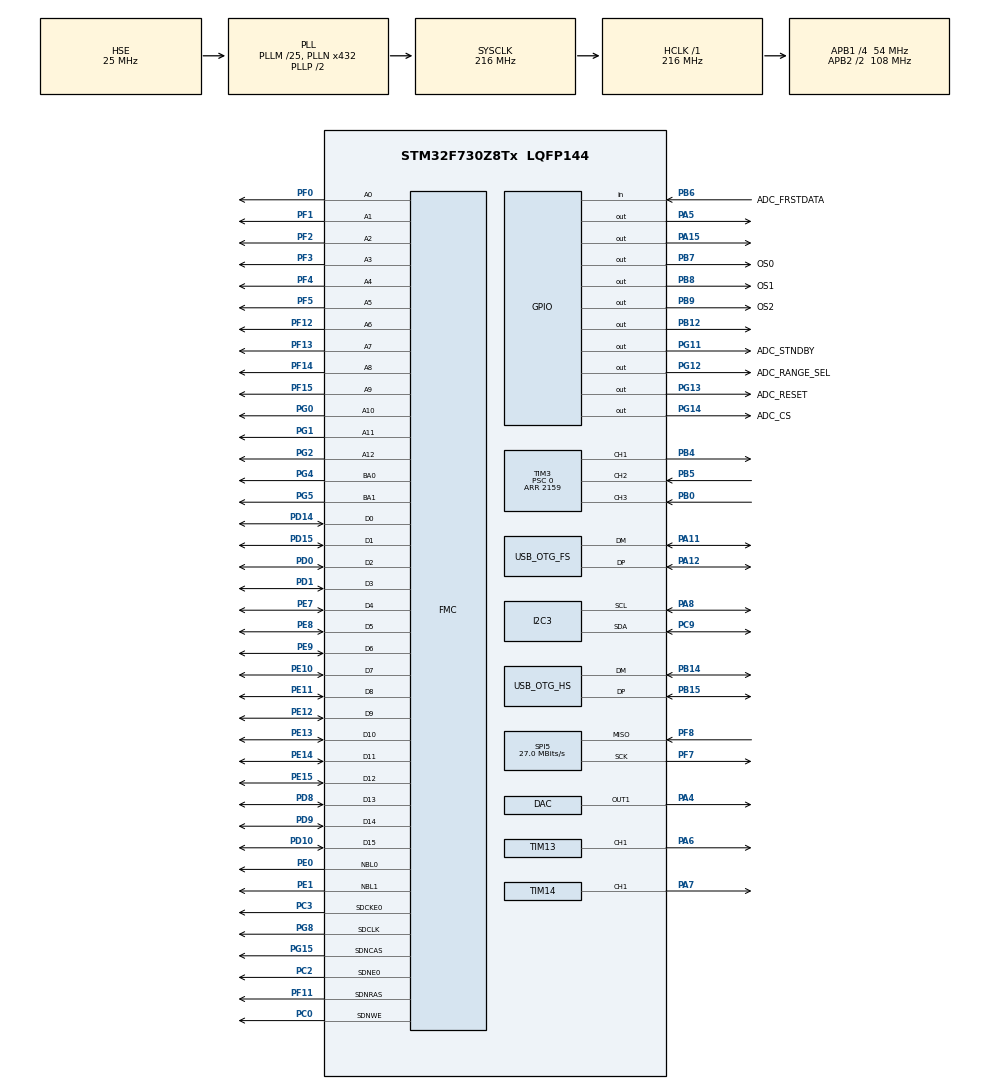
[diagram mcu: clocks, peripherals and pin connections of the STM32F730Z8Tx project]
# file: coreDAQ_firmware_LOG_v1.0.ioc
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ADC1.Channel-0\#ChannelRegularConversion=ADC_CHANNEL_TEMPSENSOR
ADC1.NbrOfConversionFlag=1
ADC1.Rank-0\#ChannelRegularConversion=1
ADC1.SamplingTime-0\#ChannelRegularConversion=ADC_SAMPLETIME_3CYCLES
ADC1.master=1
CORTEX_M7.default_mode_Activation=1
FMC.CASLatency1=FMC_SDRAM_CAS_LATENCY_2
FMC.ColumnBitsNumber1=FMC_SDRAM_COLUMN_BITS_NUM_9
FMC.ExitSelfRefreshDelay1=7
FMC.LoadToActiveDelay1=2
FMC.RCDDelay1=2
FMC.RPDelay1=2
FMC.ReadBurst1=FMC_SDRAM_RBURST_DISABLE
FMC.ReadPipeDelay1=FMC_SDRAM_RPIPE_DELAY_1
FMC.ReadPipeDelay2=FMC_SDRAM_RPIPE_DELAY_1
FMC.RowCycleDelay1=6
FMC.RowCycleDelay2=6
FMC.SDClockPeriod1=FMC_SDRAM_CLOCK_PERIOD_2
FMC.SDClockPeriod2=FMC_SDRAM_CLOCK_PERIOD_2
FMC.SelfRefreshTime1=4
FMC.WriteRecoveryTime1=6
I2C3.Timing=0x20404768
Mcu.Family=STM32F7
Mcu.Name=STM32F730Z8Tx
Mcu.Package=LQFP144
NVIC.OTG_HS_IRQn=true\:0\:0\:false\:false\:true\:true\:true\:true
NVIC.PriorityGroup=NVIC_PRIORITYGROUP_4
NVIC.SPI5_IRQn=true\:0\:0\:false\:false\:true\:true\:true\:true
NVIC.TIM3_IRQn=true\:0\:0\:false\:false\:true\:true\:true\:true
PA11.Mode=Device_Only
PA11.Signal=USB_OTG_FS_DM
PA12.Mode=Device_Only
PA12.Signal=USB_OTG_FS_DP
PA13.Mode=Trace_Asynchronous_SW
PA13.Signal=SYS_JTMS-SWDIO
PA14.Mode=Trace_Asynchronous_SW
PA14.Signal=SYS_JTCK-SWCLK
PA15.PinState=GPIO_PIN_SET
PA15.Signal=GPIO_Output
PA3.Signal=ADCx_IN3
PA4.Signal=COMP_DAC1_group
PA5.Signal=GPIO_Output
PA6.Signal=S_TIM13_CH1
PA7.Signal=S_TIM14_CH1
PA8.Mode=I2C
PA8.Signal=I2C3_SCL
PB0.Signal=S_TIM3_CH3
PB12.PinState=GPIO_PIN_RESET
PB12.Signal=GPIO_Output
PB14.Mode=Internal_Phy_Device
PB14.Signal=USB_OTG_HS_DM
PB15.Mode=Internal_Phy_Device
PB15.Signal=USB_OTG_HS_DP
PB3.Mode=Trace_Asynchronous_SW
PB3.Signal=SYS_JTDO-SWO
PB4.Signal=S_TIM3_CH1
PB5.Signal=S_TIM3_CH2
PB6.GPIO_Label=ADC_FRSTDATA
PB6.Signal=GPIO_Input
PB7.GPIO_Label=OS0
PB7.Signal=GPIO_Output
PB8.GPIO_Label=OS1
PB8.Signal=GPIO_Output
PB9.GPIO_Label=OS2
PB9.Signal=GPIO_Output
PC0.Signal=FMC_SDNWE
PC2.Mode=SdramChipSelect1_1
PC2.Signal=FMC_SDNE0
PC3.Mode=SdramChipSelect1_1
PC3.Signal=FMC_SDCKE0
PC9.Mode=I2C
PC9.Signal=I2C3_SDA
PD0.Signal=FMC_D2_DA2
PD1.Signal=FMC_D3_DA3
PD10.Signal=FMC_D15_DA15
PD14.Signal=FMC_D0_DA0
PD15.Signal=FMC_D1_DA1
PD8.Signal=FMC_D13_DA13
PD9.Signal=FMC_D14_DA14
PE0.Signal=FMC_NBL0
PE1.Signal=FMC_NBL1
PE10.Signal=FMC_D7_DA7
PE11.Signal=FMC_D8_DA8
PE12.Signal=FMC_D9_DA9
PE13.Signal=FMC_D10_DA10
PE14.Signal=FMC_D11_DA11
PE15.Signal=FMC_D12_DA12
PE7.Signal=FMC_D4_DA4
PE8.Signal=FMC_D5_DA5
PE9.Signal=FMC_D6_DA6
PF0.Signal=FMC_A0
PF1.Signal=FMC_A1
PF11.Signal=FMC_SDNRAS
PF12.Signal=FMC_A6
PF13.Signal=FMC_A7
PF14.Signal=FMC_A8
PF15.Signal=FMC_A9
PF2.Signal=FMC_A2
PF3.Signal=FMC_A3
PF4.Signal=FMC_A4
PF5.Signal=FMC_A5
PF7.Mode=RX_Only_Simplex_Unidirect_Master
PF7.Signal=SPI5_SCK
PF8.Mode=RX_Only_Simplex_Unidirect_Master
PF8.Signal=SPI5_MISO
PG0.Signal=FMC_A10
PG1.Signal=FMC_A11
PG11.GPIO_Label=ADC_STNDBY
PG11.PinState=GPIO_PIN_SET
PG11.Signal=GPIO_Output
PG12.GPIO_Label=ADC_RANGE_SEL
PG12.Signal=GPIO_Output
PG13.GPIO_Label=ADC_RESET
PG13.Signal=GPIO_Output
PG14.GPIO_Label=ADC_CS
PG14.Signal=GPIO_Output
PG15.Signal=FMC_SDNCAS
PG2.Signal=FMC_A12
PG4.Signal=FMC_A14_BA0
PG5.Signal=FMC_A15_BA1
PG8.Signal=FMC_SDCLK
PH0-OSC_IN.Mode=HSE-External-Oscillator
PH0-OSC_IN.Signal=RCC_OSC_IN
PH1-OSC_OUT.Mode=HSE-External-Oscillator
PH1-OSC_OUT.Signal=RCC_OSC_OUT
ProjectManager.HeapSize=0x200
ProjectManager.StackSize=0x400
ProjectManager.TargetToolchain=STM32CubeIDE
RCC.AHBFreq_Value=216000000
RCC.APB1CLKDivider=RCC_HCLK_DIV4
RCC.APB1Freq_Value=54000000
RCC.APB1TimFreq_Value=108000000
RCC.APB2CLKDivider=RCC_HCLK_DIV2
RCC.APB2Freq_Value=108000000
RCC.APB2TimFreq_Value=216000000
RCC.CortexFreq_Value=216000000
RCC.HCLKFreq_Value=216000000
RCC.HSE_VALUE=25000000
RCC.HSI_VALUE=16000000
RCC.LSE_VALUE=32768
RCC.PLLM=25
RCC.PLLN=432
RCC.PLLQ=9
RCC.PLLSAIP=RCC_PLLSAIP_DIV4
RCC.SYSCLKFreq_VALUE=216000000
RCC.SYSCLKSource=RCC_SYSCLKSOURCE_PLLCLK
RCC.USBFreq_Value=48000000
RCC.VCOOutputFreq_Value=432000000
REXTPHYHS.Mode=Internal_Phy_Device
REXTPHYHS.Signal=USB_OTG_HS_REXTPHYHS
SH.ADCx_IN3.0=ADC1_IN3
SH.COMP_DAC1_group.0=DAC_OUT1,DAC_OUT1
SH.FMC_A0.0=FMC_A0,13b-sda1
SH.FMC_A1.0=FMC_A1,13b-sda1
SH.FMC_A10.0=FMC_A10,13b-sda1
SH.FMC_A11.0=FMC_A11,13b-sda1
SH.FMC_A12.0=FMC_A12,13b-sda1
SH.FMC_A14_BA0.0=FMC_BA0,FourSdramBanks1
SH.FMC_A15_BA1.0=FMC_BA1,FourSdramBanks1
SH.FMC_A2.0=FMC_A2,13b-sda1
SH.FMC_A3.0=FMC_A3,13b-sda1
SH.FMC_A4.0=FMC_A4,13b-sda1
SH.FMC_A5.0=FMC_A5,13b-sda1
SH.FMC_A6.0=FMC_A6,13b-sda1
SH.FMC_A7.0=FMC_A7,13b-sda1
SH.FMC_A8.0=FMC_A8,13b-sda1
SH.FMC_A9.0=FMC_A9,13b-sda1
SH.FMC_D0_DA0.0=FMC_D0,sd-16b-d1
SH.FMC_D10_DA10.0=FMC_D10,sd-16b-d1
SH.FMC_D11_DA11.0=FMC_D11,sd-16b-d1
SH.FMC_D12_DA12.0=FMC_D12,sd-16b-d1
SH.FMC_D13_DA13.0=FMC_D13,sd-16b-d1
SH.FMC_D14_DA14.0=FMC_D14,sd-16b-d1
SH.FMC_D15_DA15.0=FMC_D15,sd-16b-d1
SH.FMC_D1_DA1.0=FMC_D1,sd-16b-d1
SH.FMC_D2_DA2.0=FMC_D2,sd-16b-d1
SH.FMC_D3_DA3.0=FMC_D3,sd-16b-d1
SH.FMC_D4_DA4.0=FMC_D4,sd-16b-d1
SH.FMC_D5_DA5.0=FMC_D5,sd-16b-d1
SH.FMC_D6_DA6.0=FMC_D6,sd-16b-d1
SH.FMC_D7_DA7.0=FMC_D7,sd-16b-d1
SH.FMC_D8_DA8.0=FMC_D8,sd-16b-d1
SH.FMC_D9_DA9.0=FMC_D9,sd-16b-d1
SH.FMC_NBL0.0=FMC_NBL0,Sd2ByteEnable1
SH.FMC_NBL1.0=FMC_NBL1,Sd2ByteEnable1
SH.FMC_SDCLK.0=FMC_SDCLK,13b-sda1
SH.FMC_SDNCAS.0=FMC_SDNCAS,13b-sda1
SH.FMC_SDNRAS.0=FMC_SDNRAS,13b-sda1
SH.FMC_SDNWE.0=FMC_SDNWE,13b-sda1
SH.S_TIM13_CH1.0=TIM13_CH1,PWM Generation1 CH1
SH.S_TIM14_CH1.0=TIM14_CH1,PWM Generation1 CH1
SH.S_TIM3_CH1.0=TIM3_CH1,PWM Generation1 CH1
SH.S_TIM3_CH2.0=TIM3_CH2,Input_Capture2_from_TI2
SH.S_TIM3_CH3.0=TIM3_CH3,Input_Capture3_from_TI3
SPI5.BaudRatePrescaler=SPI_BAUDRATEPRESCALER_4
SPI5.CLKPhase=SPI_PHASE_2EDGE
SPI5.CalculateBaudRate=27.0 MBits/s
SPI5.DataSize=SPI_DATASIZE_16BIT
SPI5.Direction=SPI_DIRECTION_2LINES_RXONLY
SPI5.Mode=SPI_MODE_MASTER
SPI5.VirtualType=VM_MASTER
TIM13.Channel=TIM_CHANNEL_1
TIM14.Channel=TIM_CHANNEL_1
TIM3.Channel-Input_Capture2_from_TI2=TIM_CHANNEL_2
TIM3.Channel-Input_Capture3_from_TI3=TIM_CHANNEL_3
TIM3.Channel-PWM\ Generation1\ CH1=TIM_CHANNEL_1
TIM3.ICFilter_CH2=4
TIM3.ICPolarity_CH2=TIM_INPUTCHANNELPOLARITY_FALLING
TIM3.Period=2159
TIM3.Prescaler=0
TIM3.Pulse-PWM\ Generation1\ CH1=100
USB_DEVICE.CLASS_NAME_HS=CDC
USB_DEVICE.VirtualMode-CDC_HS=Cdc
USB_DEVICE.VirtualModeHS=Cdc_HS
USB_OTG_FS.VirtualMode=Device_Only
USB_OTG_HS.VirtualMode=Int_Phy_Device
VP_ADC1_TempSens_Input.Mode=IN-TempSens
VP_TIM13_VS_ClockSourceINT.Mode=Enable_Timer
VP_TIM14_VS_ClockSourceINT.Mode=Enable_Timer
VP_TIM3_VS_ClockSourceINT.Mode=Internal
VP_USB_DEVICE_VS_USB_DEVICE_CDC_HS.Mode=CDC_HS
board=custom

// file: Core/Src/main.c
/* USER CODE BEGIN Header */
/**
  ******************************************************************************
  * @file           : main.c
  * @brief          : Main program body
  ******************************************************************************
  * @attention
  *
  * Copyright (c) 2025 STMicroelectronics.
  * All rights reserved.
  *
  * This software is licensed under terms that can be found in the LICENSE file
  * in the root directory of this software component.
  * If no LICENSE file comes with this software, it is provided AS-IS.
  *
  ******************************************************************************
  */
/* USER CODE END Header */
#include "main.h"
#include "usb_device.h"

/* USER CODE BEGIN Includes */
#include <stdio.h>
#include "stm32f7xx_hal.h"
#include "ad7606.h"
#include "timer_control.h"
#include "state_machine.h"
#include "usbd_cdc_if.h"
#include "usb_xfer.h"
#include "i2c.h"
#include "stm32f7xx_hal.h"
#include "globals.h"

typedef void (*pFunction)(void);
#define SYSMEM_BASE_F7  ((uint32_t)0x00100000U)  // System Memory on STM32F7
#define DFU_MAGIC       (0xA5A55A5AU)
__attribute__((section(".noinit"))) uint32_t g_dfu_request_flag;

extern uint32_t g_dfu_request_flag;

extern USBD_HandleTypeDef hUsbDeviceHS;
/* If you have an FS/HS SPDT switch, select FS here (adjust polarity) */
enum{C0, F030x8, F030xC, F03xx, F05, F07, F09, F10xx, F105, F107, F10XL,
	F2, F3, F4, F7, G0, G4, H503, H563, H573, H7x, H7A, H7B,
	L0, L1, L4, L5, WBA, WBX, WL, U5};

#define MCU			F7		//Define here the MCU being used

void JumpToBootloader(void);

void JumpToBootloader (void)
{
	uint32_t i=0;

	void (*SysMemBootJump)(void);

	/* Set a vector addressed with STM32 Microcontrollers names */
	/* Each vector position contains an address to the boot loader entry point */

		volatile uint32_t BootAddr[33];

		BootAddr[C0]     = 0x1FFF0000;
		BootAddr[F030x8] = 0x1FFFEC00;
		BootAddr[F030xC] = 0x1FFFD800;
		BootAddr[F03xx]  = 0x1FFFEC00;
		BootAddr[F05]    = 0x1FFFEC00;
		BootAddr[F07]    = 0x1FFFC800;
		BootAddr[F09]    = 0x1FFFD800;
		BootAddr[F10xx]  = 0x1FFFF000;
		BootAddr[F105]   = 0x1FFFB000;
		BootAddr[F107]   = 0x1FFFB000;
		BootAddr[F10XL]  = 0x1FFFE000;
		BootAddr[F2]     = 0x1FFF0000;
		BootAddr[F3]     = 0x1FFFD800;
		BootAddr[F4]     = 0x1FFF0000;
		BootAddr[F7]     = 0x1FF00000;
		BootAddr[G0]     = 0x1FFF0000;
		BootAddr[G4]     = 0x1FFF0000;
		BootAddr[H503]   = 0x0BF87000;
		BootAddr[H563]   = 0x0BF97000;
		BootAddr[H573]   = 0x0BF97000;
		BootAddr[H7x]    = 0x1FF09800;
		BootAddr[H7A]    = 0x1FF0A800;
		BootAddr[H7B]    = 0x1FF0A000;
		BootAddr[L0]     = 0x1FF00000;
		BootAddr[L1]     = 0x1FF00000;
		BootAddr[L4]     = 0x1FFF0000;
		BootAddr[L5]     = 0x0BF90000;
		BootAddr[WBA]    = 0x0BF88000;
		BootAddr[WBX]    = 0x1FFF0000;
		BootAddr[WL]     = 0x1FFF0000;
		BootAddr[U5]     = 0x0BF90000;

		/* Disable all interrupts */
		__disable_irq();

		/* Disable Systick timer */
		SysTick->CTRL = 0;

		/* Set the clock to the default state */
		HAL_RCC_DeInit();

		/* Clear Interrupt Enable Register & Interrupt Pending Register */
		for (i=0;i<5;i++)
		{
			NVIC->ICER[i]=0xFFFFFFFF;
			NVIC->ICPR[i]=0xFFFFFFFF;
		}

		/* Re-enable all interrupts */
		__enable_irq();

		/* Set up the jump to boot loader address + 4 */
		SysMemBootJump = (void (*)(void)) (*((uint32_t *) ((BootAddr[MCU] + 4))));

		/* Set the main stack pointer to the boot loader stack */
		__set_MSP(*(uint32_t *)BootAddr[MCU]);

		/* Call the function to jump to boot loader location */
		SysMemBootJump();

		/* Jump is done successfully */
		while (1)
		{
			/* Code should never reach this loop */
		}
}

//

#define SDRAM_U16   ((uint16_t*)0xC0000000UL)

/* USER CODE END Includes */

ADC_HandleTypeDef hadc1;

DAC_HandleTypeDef hdac;

I2C_HandleTypeDef hi2c3;

SPI_HandleTypeDef hspi5;

TIM_HandleTypeDef htim3;
TIM_HandleTypeDef htim13;
TIM_HandleTypeDef htim14;

PCD_HandleTypeDef hpcd_USB_OTG_FS;

SDRAM_HandleTypeDef hsdram1;

void SystemClock_Config(void);
static void MPU_Config(void);
static void MX_GPIO_Init(void);
static void MX_SPI5_Init(void);
static void MX_TIM3_Init(void);
static void MX_DAC_Init(void);
static void MX_FMC_Init(void);
static void MX_TIM13_Init(void);
static void MX_TIM14_Init(void);
static void MX_ADC1_Init(void);
static void MX_USB_OTG_FS_PCD_Init(void);
static void MX_I2C3_Init(void);
/* USER CODE BEGIN PFP */
int _write(int file, char *ptr, int len)
{
  /* Implement your write code here, this is used by puts and //printf for example */
  int i=0;
  for(i=0 ; i<len ; i++)
    ITM_SendChar((*ptr++));
  return len;
}

extern

/* ========= Minimal AD7606 “handle” + helpers in this file ========= */

/* USER CODE END PFP */

int main(void)
{

  /* MPU Configuration--------------------------------------------------------*/
  MPU_Config();

  /* MCU Configuration--------------------------------------------------------*/

  /* Reset of all peripherals, Initializes the Flash interface and the Systick. */
  HAL_Init();

  /* USER CODE BEGIN Init */
  SCB_EnableICache();
  SCB_EnableDCache();
  /* USER CODE END Init */

  /* Configure the system clock */
  SystemClock_Config();

  /* USER CODE BEGIN SysInit */

  if (g_dfu_request_flag == 0xDEADBEEF)
  {
      g_dfu_request_flag = 0;   // clear flag so normal reset is normal
      __DSB();
      __ISB();
      JumpToBootloader();       // this path already works for you
  }
  /* USER CODE END SysInit */

  /* Initialize all configured peripherals */
  MX_GPIO_Init();
  MX_SPI5_Init();
  MX_TIM3_Init();
  MX_DAC_Init();
  MX_FMC_Init();
  MX_TIM13_Init();
  MX_TIM14_Init();
  MX_USB_DEVICE_Init();
  MX_ADC1_Init();
  MX_USB_OTG_FS_PCD_Init();
  MX_I2C3_Init();
  I2C_Init();
  /* USER CODE BEGIN 2 */

  ACQ_Init();

  ACQ_Snapshot_Arm(50);

  LED_Init();
  //Activate_USB_HS
  HAL_GPIO_WritePin(GPIOB, GPIO_PIN_12, GPIO_PIN_SET);

  LED_BreatheBoth(2, 500);

  for (uint8_t i = 0; i < 5; i++)
  {
      LED3_On();
      HAL_Delay(100);

      LED3_Off();
      HAL_Delay(100);
  }

  for (uint8_t i = 0; i < 5; i++)
  {
      LED2_On();
      HAL_Delay(100);

      LED2_Off();
      HAL_Delay(100);
  }
  /* USER CODE END 2 */

  /* Infinite loop */
  /* USER CODE BEGIN WHILE */
  while (1)
  {

	  if (SM_GetState() == STATE_TRANSFER)

	      { USB_TransferTask(); }

	  if (g_i2c_refresh_request)

		  { I2C_Refresh(); }

	  if (SM_GetState() == STATE_CAL_DUMP)

	      { CALDUMP_Task();
	      if (!CALDUMP_IsActive()) {
	         SM_SetState(STATE_IDLE);
	      } }    /* USER CODE END WHILE */

    /* USER CODE BEGIN 3 */

	    // Small delay keeps debugger responsive, prevents HardFault
  }
  /* USER CODE END 3 */
}

void SystemClock_Config(void)
{
  RCC_OscInitTypeDef RCC_OscInitStruct = {0};
  RCC_ClkInitTypeDef RCC_ClkInitStruct = {0};

  /** Configure the main internal regulator output voltage
  */
  __HAL_RCC_PWR_CLK_ENABLE();
  __HAL_PWR_VOLTAGESCALING_CONFIG(PWR_REGULATOR_VOLTAGE_SCALE1);

  /** Initializes the RCC Oscillators according to the specified parameters
  * in the RCC_OscInitTypeDef structure.
  */
  RCC_OscInitStruct.OscillatorType = RCC_OSCILLATORTYPE_HSE;
  RCC_OscInitStruct.HSEState = RCC_HSE_ON;
  RCC_OscInitStruct.PLL.PLLState = RCC_PLL_ON;
  RCC_OscInitStruct.PLL.PLLSource = RCC_PLLSOURCE_HSE;
  RCC_OscInitStruct.PLL.PLLM = 25;
  RCC_OscInitStruct.PLL.PLLN = 432;
  RCC_OscInitStruct.PLL.PLLP = RCC_PLLP_DIV2;
  RCC_OscInitStruct.PLL.PLLQ = 9;
  if (HAL_RCC_OscConfig(&RCC_OscInitStruct) != HAL_OK)
  {
    Error_Handler();
  }

  /** Activate the Over-Drive mode
  */
  if (HAL_PWREx_EnableOverDrive() != HAL_OK)
  {
    Error_Handler();
  }

  /** Initializes the CPU, AHB and APB buses clocks
  */
  RCC_ClkInitStruct.ClockType = RCC_CLOCKTYPE_HCLK|RCC_CLOCKTYPE_SYSCLK
                              |RCC_CLOCKTYPE_PCLK1|RCC_CLOCKTYPE_PCLK2;
  RCC_ClkInitStruct.SYSCLKSource = RCC_SYSCLKSOURCE_PLLCLK;
  RCC_ClkInitStruct.AHBCLKDivider = RCC_SYSCLK_DIV1;
  RCC_ClkInitStruct.APB1CLKDivider = RCC_HCLK_DIV4;
  RCC_ClkInitStruct.APB2CLKDivider = RCC_HCLK_DIV2;

  if (HAL_RCC_ClockConfig(&RCC_ClkInitStruct, FLASH_LATENCY_7) != HAL_OK)
  {
    Error_Handler();
  }
}

static void MX_ADC1_Init(void)
{

  ADC_ChannelConfTypeDef sConfig = {0};

  /** Configure the global features of the ADC (Clock, Resolution, Data Alignment and number of conversion)
  */
  hadc1.Instance = ADC1;
  hadc1.Init.ClockPrescaler = ADC_CLOCK_SYNC_PCLK_DIV4;
  hadc1.Init.Resolution = ADC_RESOLUTION_12B;
  hadc1.Init.ScanConvMode = ADC_SCAN_DISABLE;
  hadc1.Init.ContinuousConvMode = DISABLE;
  hadc1.Init.DiscontinuousConvMode = DISABLE;
  hadc1.Init.ExternalTrigConvEdge = ADC_EXTERNALTRIGCONVEDGE_NONE;
  hadc1.Init.ExternalTrigConv = ADC_SOFTWARE_START;
  hadc1.Init.DataAlign = ADC_DATAALIGN_RIGHT;
  hadc1.Init.NbrOfConversion = 1;
  hadc1.Init.DMAContinuousRequests = DISABLE;
  hadc1.Init.EOCSelection = ADC_EOC_SINGLE_CONV;
  if (HAL_ADC_Init(&hadc1) != HAL_OK)
  {
    Error_Handler();
  }

  /** Configure for the selected ADC regular channel its corresponding rank in the sequencer and its sample time.
  */
  sConfig.Channel = ADC_CHANNEL_TEMPSENSOR;
  sConfig.Rank = ADC_REGULAR_RANK_1;
  sConfig.SamplingTime = ADC_SAMPLETIME_3CYCLES;
  if (HAL_ADC_ConfigChannel(&hadc1, &sConfig) != HAL_OK)
  {
    Error_Handler();
  }

}

static void MX_DAC_Init(void)
{

  DAC_ChannelConfTypeDef sConfig = {0};

  /** DAC Initialization
  */
  hdac.Instance = DAC;
  if (HAL_DAC_Init(&hdac) != HAL_OK)
  {
    Error_Handler();
  }

  /** DAC channel OUT1 config
  */
  sConfig.DAC_Trigger = DAC_TRIGGER_NONE;
  sConfig.DAC_OutputBuffer = DAC_OUTPUTBUFFER_ENABLE;
  if (HAL_DAC_ConfigChannel(&hdac, &sConfig, DAC_CHANNEL_1) != HAL_OK)
  {
    Error_Handler();
  }

}

static void MX_I2C3_Init(void)
{

  hi2c3.Instance = I2C3;
  hi2c3.Init.Timing = 0x20404768;
  hi2c3.Init.OwnAddress1 = 0;
  hi2c3.Init.AddressingMode = I2C_ADDRESSINGMODE_7BIT;
  hi2c3.Init.DualAddressMode = I2C_DUALADDRESS_DISABLE;
  hi2c3.Init.OwnAddress2 = 0;
  hi2c3.Init.OwnAddress2Masks = I2C_OA2_NOMASK;
  hi2c3.Init.GeneralCallMode = I2C_GENERALCALL_DISABLE;
  hi2c3.Init.NoStretchMode = I2C_NOSTRETCH_DISABLE;
  if (HAL_I2C_Init(&hi2c3) != HAL_OK)
  {
    Error_Handler();
  }

  /** Configure Analogue filter
  */
  if (HAL_I2CEx_ConfigAnalogFilter(&hi2c3, I2C_ANALOGFILTER_ENABLE) != HAL_OK)
  {
    Error_Handler();
  }

  /** Configure Digital filter
  */
  if (HAL_I2CEx_ConfigDigitalFilter(&hi2c3, 0) != HAL_OK)
  {
    Error_Handler();
  }

}

static void MX_SPI5_Init(void)
{

  /* SPI5 parameter configuration*/
  hspi5.Instance = SPI5;
  hspi5.Init.Mode = SPI_MODE_MASTER;
  hspi5.Init.Direction = SPI_DIRECTION_2LINES_RXONLY;
  hspi5.Init.DataSize = SPI_DATASIZE_16BIT;
  hspi5.Init.CLKPolarity = SPI_POLARITY_LOW;
  hspi5.Init.CLKPhase = SPI_PHASE_2EDGE;
  hspi5.Init.NSS = SPI_NSS_SOFT;
  hspi5.Init.BaudRatePrescaler = SPI_BAUDRATEPRESCALER_4;
  hspi5.Init.FirstBit = SPI_FIRSTBIT_MSB;
  hspi5.Init.TIMode = SPI_TIMODE_DISABLE;
  hspi5.Init.CRCCalculation = SPI_CRCCALCULATION_DISABLE;
  hspi5.Init.CRCPolynomial = 7;
  hspi5.Init.CRCLength = SPI_CRC_LENGTH_DATASIZE;
  hspi5.Init.NSSPMode = SPI_NSS_PULSE_DISABLE;
  if (HAL_SPI_Init(&hspi5) != HAL_OK)
  {
    Error_Handler();
  }

}

static void MX_TIM3_Init(void)
{

  TIM_ClockConfigTypeDef sClockSourceConfig = {0};
  TIM_MasterConfigTypeDef sMasterConfig = {0};
  TIM_OC_InitTypeDef sConfigOC = {0};
  TIM_IC_InitTypeDef sConfigIC = {0};

  htim3.Instance = TIM3;
  htim3.Init.Prescaler = 0;
  htim3.Init.CounterMode = TIM_COUNTERMODE_UP;
  htim3.Init.Period = 2159;
  htim3.Init.ClockDivision = TIM_CLOCKDIVISION_DIV1;
  htim3.Init.AutoReloadPreload = TIM_AUTORELOAD_PRELOAD_DISABLE;
  if (HAL_TIM_Base_Init(&htim3) != HAL_OK)
  {
    Error_Handler();
  }
  sClockSourceConfig.ClockSource = TIM_CLOCKSOURCE_INTERNAL;
  if (HAL_TIM_ConfigClockSource(&htim3, &sClockSourceConfig) != HAL_OK)
  {
    Error_Handler();
  }
  if (HAL_TIM_PWM_Init(&htim3) != HAL_OK)
  {
    Error_Handler();
  }
  if (HAL_TIM_IC_Init(&htim3) != HAL_OK)
  {
    Error_Handler();
  }
  sMasterConfig.MasterOutputTrigger = TIM_TRGO_RESET;
  sMasterConfig.MasterSlaveMode = TIM_MASTERSLAVEMODE_DISABLE;
  if (HAL_TIMEx_MasterConfigSynchronization(&htim3, &sMasterConfig) != HAL_OK)
  {
    Error_Handler();
  }
  sConfigOC.OCMode = TIM_OCMODE_PWM1;
  sConfigOC.Pulse = 100;
  sConfigOC.OCPolarity = TIM_OCPOLARITY_HIGH;
  sConfigOC.OCFastMode = TIM_OCFAST_DISABLE;
  if (HAL_TIM_PWM_ConfigChannel(&htim3, &sConfigOC, TIM_CHANNEL_1) != HAL_OK)
  {
    Error_Handler();
  }
  sConfigIC.ICPolarity = TIM_INPUTCHANNELPOLARITY_FALLING;
  sConfigIC.ICSelection = TIM_ICSELECTION_DIRECTTI;
  sConfigIC.ICPrescaler = TIM_ICPSC_DIV1;
  sConfigIC.ICFilter = 4;
  if (HAL_TIM_IC_ConfigChannel(&htim3, &sConfigIC, TIM_CHANNEL_2) != HAL_OK)
  {
    Error_Handler();
  }
  sConfigIC.ICPolarity = TIM_INPUTCHANNELPOLARITY_RISING;
  sConfigIC.ICFilter = 0;
  if (HAL_TIM_IC_ConfigChannel(&htim3, &sConfigIC, TIM_CHANNEL_3) != HAL_OK)
  {
    Error_Handler();
  }
  HAL_TIM_MspPostInit(&htim3);

}

static void MX_TIM13_Init(void)
{

  TIM_OC_InitTypeDef sConfigOC = {0};

  htim13.Instance = TIM13;
  htim13.Init.Prescaler = 0;
  htim13.Init.CounterMode = TIM_COUNTERMODE_UP;
  htim13.Init.Period = 65535;
  htim13.Init.ClockDivision = TIM_CLOCKDIVISION_DIV1;
  htim13.Init.AutoReloadPreload = TIM_AUTORELOAD_PRELOAD_DISABLE;
  if (HAL_TIM_Base_Init(&htim13) != HAL_OK)
  {
    Error_Handler();
  }
  if (HAL_TIM_PWM_Init(&htim13) != HAL_OK)
  {
    Error_Handler();
  }
  sConfigOC.OCMode = TIM_OCMODE_PWM1;
  sConfigOC.Pulse = 0;
  sConfigOC.OCPolarity = TIM_OCPOLARITY_HIGH;
  sConfigOC.OCFastMode = TIM_OCFAST_DISABLE;
  if (HAL_TIM_PWM_ConfigChannel(&htim13, &sConfigOC, TIM_CHANNEL_1) != HAL_OK)
  {
    Error_Handler();
  }
  HAL_TIM_MspPostInit(&htim13);

}

static void MX_TIM14_Init(void)
{

  TIM_OC_InitTypeDef sConfigOC = {0};

  htim14.Instance = TIM14;
  htim14.Init.Prescaler = 0;
  htim14.Init.CounterMode = TIM_COUNTERMODE_UP;
  htim14.Init.Period = 65535;
  htim14.Init.ClockDivision = TIM_CLOCKDIVISION_DIV1;
  htim14.Init.AutoReloadPreload = TIM_AUTORELOAD_PRELOAD_DISABLE;
  if (HAL_TIM_Base_Init(&htim14) != HAL_OK)
  {
    Error_Handler();
  }
  if (HAL_TIM_PWM_Init(&htim14) != HAL_OK)
  {
    Error_Handler();
  }
  sConfigOC.OCMode = TIM_OCMODE_PWM1;
  sConfigOC.Pulse = 0;
  sConfigOC.OCPolarity = TIM_OCPOLARITY_HIGH;
  sConfigOC.OCFastMode = TIM_OCFAST_DISABLE;
  if (HAL_TIM_PWM_ConfigChannel(&htim14, &sConfigOC, TIM_CHANNEL_1) != HAL_OK)
  {
    Error_Handler();
  }
  HAL_TIM_MspPostInit(&htim14);

}

static void MX_USB_OTG_FS_PCD_Init(void)
{

  hpcd_USB_OTG_FS.Instance = USB_OTG_FS;
  hpcd_USB_OTG_FS.Init.dev_endpoints = 6;
  hpcd_USB_OTG_FS.Init.speed = PCD_SPEED_FULL;
  hpcd_USB_OTG_FS.Init.dma_enable = DISABLE;
  hpcd_USB_OTG_FS.Init.phy_itface = PCD_PHY_EMBEDDED;
  hpcd_USB_OTG_FS.Init.Sof_enable = DISABLE;
  hpcd_USB_OTG_FS.Init.low_power_enable = DISABLE;
  hpcd_USB_OTG_FS.Init.lpm_enable = DISABLE;
  hpcd_USB_OTG_FS.Init.battery_charging_enable = DISABLE;
  hpcd_USB_OTG_FS.Init.vbus_sensing_enable = DISABLE;
  hpcd_USB_OTG_FS.Init.use_dedicated_ep1 = DISABLE;
  if (HAL_PCD_Init(&hpcd_USB_OTG_FS) != HAL_OK)
  {
    Error_Handler();
  }

}

/* FMC initialization function */
static void MX_FMC_Init(void)
{

  FMC_SDRAM_TimingTypeDef SdramTiming = {0};

  /** Perform the SDRAM1 memory initialization sequence
  */
  hsdram1.Instance = FMC_SDRAM_DEVICE;
  /* hsdram1.Init */
  hsdram1.Init.SDBank = FMC_SDRAM_BANK1;
  hsdram1.Init.ColumnBitsNumber = FMC_SDRAM_COLUMN_BITS_NUM_9;
  hsdram1.Init.RowBitsNumber = FMC_SDRAM_ROW_BITS_NUM_13;
  hsdram1.Init.MemoryDataWidth = FMC_SDRAM_MEM_BUS_WIDTH_16;
  hsdram1.Init.InternalBankNumber = FMC_SDRAM_INTERN_BANKS_NUM_4;
  hsdram1.Init.CASLatency = FMC_SDRAM_CAS_LATENCY_2;
  hsdram1.Init.WriteProtection = FMC_SDRAM_WRITE_PROTECTION_DISABLE;
  hsdram1.Init.SDClockPeriod = FMC_SDRAM_CLOCK_PERIOD_2;
  hsdram1.Init.ReadBurst = FMC_SDRAM_RBURST_DISABLE;
  hsdram1.Init.ReadPipeDelay = FMC_SDRAM_RPIPE_DELAY_1;
  /* SdramTiming */
  SdramTiming.LoadToActiveDelay = 2;
  SdramTiming.ExitSelfRefreshDelay = 7;
  SdramTiming.SelfRefreshTime = 4;
  SdramTiming.RowCycleDelay = 6;
  SdramTiming.WriteRecoveryTime = 6;
  SdramTiming.RPDelay = 2;
  SdramTiming.RCDDelay = 2;

  if (HAL_SDRAM_Init(&hsdram1, &SdramTiming) != HAL_OK)
  {
    Error_Handler( );
  }

  /* USER CODE BEGIN FMC_Init 2 */
	  FMC_SDRAM_CommandTypeDef cmd = {0};

	  // Clock enable
	  cmd.CommandMode = FMC_SDRAM_CMD_CLK_ENABLE;
	  cmd.CommandTarget = FMC_SDRAM_CMD_TARGET_BANK1;
	  cmd.AutoRefreshNumber = 1;
	  HAL_SDRAM_SendCommand(&hsdram1, &cmd, HAL_MAX_DELAY);

	  // ≥100 µs
	  HAL_Delay(1);

	  // Precharge all
	  cmd.CommandMode = FMC_SDRAM_CMD_PALL;
	  HAL_SDRAM_SendCommand(&hsdram1, &cmd, HAL_MAX_DELAY);

	  // Auto-refresh ×8
	  cmd.CommandMode = FMC_SDRAM_CMD_AUTOREFRESH_MODE;
	  cmd.AutoRefreshNumber = 8;
	  HAL_SDRAM_SendCommand(&hsdram1, &cmd, HAL_MAX_DELAY);

	  // Load Mode Register: BL=1, BT=seq, CAS=2, std op, write-burst=programmed
	  uint32_t mr = (0<<0) | (0<<3) | (2<<4) | (0<<7) | (0<<9); // 0x20
	  cmd.CommandMode = FMC_SDRAM_CMD_LOAD_MODE;
	  cmd.ModeRegisterDefinition = mr;
	  HAL_SDRAM_SendCommand(&hsdram1, &cmd, HAL_MAX_DELAY);

	  // Refresh counter
	  HAL_SDRAM_ProgramRefreshRate(&hsdram1, 761);
  /* USER CODE END FMC_Init 2 */
}

static void MX_GPIO_Init(void)
{
  GPIO_InitTypeDef GPIO_InitStruct = {0};

  /* GPIO Ports Clock Enable */
  __HAL_RCC_GPIOF_CLK_ENABLE();
  __HAL_RCC_GPIOH_CLK_ENABLE();
  __HAL_RCC_GPIOC_CLK_ENABLE();
  __HAL_RCC_GPIOA_CLK_ENABLE();
  __HAL_RCC_GPIOB_CLK_ENABLE();
  __HAL_RCC_GPIOG_CLK_ENABLE();
  __HAL_RCC_GPIOE_CLK_ENABLE();
  __HAL_RCC_GPIOD_CLK_ENABLE();

  /*Configure GPIO pin Output Level */
  HAL_GPIO_WritePin(GPIOA, GPIO_PIN_5, GPIO_PIN_RESET);

  /*Configure GPIO pin Output Level */
  HAL_GPIO_WritePin(GPIOB, GPIO_PIN_12|OS0_Pin|OS1_Pin|OS2_Pin, GPIO_PIN_RESET);

  /*Configure GPIO pin Output Level */
  HAL_GPIO_WritePin(GPIOA, GPIO_PIN_15, GPIO_PIN_SET);

  /*Configure GPIO pin Output Level */
  HAL_GPIO_WritePin(ADC_STNDBY_GPIO_Port, ADC_STNDBY_Pin, GPIO_PIN_SET);

  /*Configure GPIO pin Output Level */
  HAL_GPIO_WritePin(GPIOG, ADC_RANGE_SEL_Pin|ADC_RESET_Pin|ADC_CS_Pin, GPIO_PIN_RESET);

  /*Configure GPIO pins : PA5 PA15 */
  GPIO_InitStruct.Pin = GPIO_PIN_5|GPIO_PIN_15;
  GPIO_InitStruct.Mode = GPIO_MODE_OUTPUT_PP;
  GPIO_InitStruct.Pull = GPIO_NOPULL;
  GPIO_InitStruct.Speed = GPIO_SPEED_FREQ_LOW;
  HAL_GPIO_Init(GPIOA, &GPIO_InitStruct);

  /*Configure GPIO pins : PB12 OS0_Pin OS1_Pin OS2_Pin */
  GPIO_InitStruct.Pin = GPIO_PIN_12|OS0_Pin|OS1_Pin|OS2_Pin;
  GPIO_InitStruct.Mode = GPIO_MODE_OUTPUT_PP;
  GPIO_InitStruct.Pull = GPIO_NOPULL;
  GPIO_InitStruct.Speed = GPIO_SPEED_FREQ_LOW;
  HAL_GPIO_Init(GPIOB, &GPIO_InitStruct);

  /*Configure GPIO pins : ADC_STNDBY_Pin ADC_RANGE_SEL_Pin ADC_RESET_Pin ADC_CS_Pin */
  GPIO_InitStruct.Pin = ADC_STNDBY_Pin|ADC_RANGE_SEL_Pin|ADC_RESET_Pin|ADC_CS_Pin;
  GPIO_InitStruct.Mode = GPIO_MODE_OUTPUT_PP;
  GPIO_InitStruct.Pull = GPIO_NOPULL;
  GPIO_InitStruct.Speed = GPIO_SPEED_FREQ_LOW;
  HAL_GPIO_Init(GPIOG, &GPIO_InitStruct);

  /*Configure GPIO pin : ADC_FRSTDATA_Pin */
  GPIO_InitStruct.Pin = ADC_FRSTDATA_Pin;
  GPIO_InitStruct.Mode = GPIO_MODE_INPUT;
  GPIO_InitStruct.Pull = GPIO_NOPULL;
  HAL_GPIO_Init(ADC_FRSTDATA_GPIO_Port, &GPIO_InitStruct);

}

/* USER CODE BEGIN 4 */
// global state you can watch in Live Expressions

/*

void MPU_Config(void)
{

 MPU_Region_InitTypeDef r = {0};
 HAL_MPU_Disable();

 // SDRAM @ 0xC0000000 (adjust size)
 r.Enable           = MPU_REGION_ENABLE;
 r.Number           = MPU_REGION_NUMBER0;
 r.BaseAddress      = 0xC0000000;
 r.Size             = MPU_REGION_SIZE_8MB;
 r.AccessPermission = MPU_REGION_FULL_ACCESS;
 r.IsBufferable     = MPU_ACCESS_NOT_BUFFERABLE;
 r.IsCacheable      = MPU_ACCESS_CACHEABLE;
 r.IsShareable      = MPU_ACCESS_NOT_SHAREABLE;
 r.TypeExtField     = MPU_TEX_LEVEL0;
 r.SubRegionDisable = 0x00;
 r.DisableExec      = MPU_INSTRUCTION_ACCESS_ENABLE;
 HAL_MPU_ConfigRegion(&r);

 HAL_MPU_Enable(MPU_PRIVILEGED_DEFAULT);
}

 */

void Custom_MPU_Config(void)
{

    MPU_Region_InitTypeDef MPU_InitStruct = {0};

    HAL_MPU_Disable();

    MPU_InitStruct.Enable           = MPU_REGION_ENABLE;
    MPU_InitStruct.BaseAddress      = 0xC0000000;
    MPU_InitStruct.Size             = MPU_REGION_SIZE_32MB;

    MPU_InitStruct.AccessPermission = MPU_REGION_FULL_ACCESS;
    MPU_InitStruct.IsCacheable      = MPU_ACCESS_CACHEABLE;   // ✅ buffer/cached allowed
    MPU_InitStruct.IsBufferable     = MPU_ACCESS_BUFFERABLE;
    MPU_InitStruct.IsShareable      = MPU_ACCESS_NOT_SHAREABLE;
    MPU_InitStruct.TypeExtField     = MPU_TEX_LEVEL1;

    MPU_InitStruct.SubRegionDisable = 0x00;
    MPU_InitStruct.DisableExec      = MPU_INSTRUCTION_ACCESS_DISABLE;

    HAL_MPU_ConfigRegion(&MPU_InitStruct);
    HAL_MPU_Enable(MPU_PRIVILEGED_DEFAULT);
}

// ---- Minimal SDRAM smoke test (drop-in) ----
#define CDC_PKT 512

static inline uint32_t align32_down(uint32_t a){ return a & ~31u; }
static inline uint32_t align32_up  (uint32_t a){ return (a + 31u) & ~31u; }

/* USER CODE END 4 */

 /* MPU Configuration */

void MPU_Config(void)
{

    MPU_Region_InitTypeDef MPU_InitStruct = {0};

    HAL_MPU_Disable();

    MPU_InitStruct.Enable           = MPU_REGION_ENABLE;
    MPU_InitStruct.BaseAddress      = 0xC0000000;
    MPU_InitStruct.Size             = MPU_REGION_SIZE_32MB;

    MPU_InitStruct.AccessPermission = MPU_REGION_FULL_ACCESS;
    MPU_InitStruct.IsCacheable      = MPU_ACCESS_CACHEABLE;   // ✅ buffer/cached allowed
    MPU_InitStruct.IsBufferable     = MPU_ACCESS_BUFFERABLE;
    MPU_InitStruct.IsShareable      = MPU_ACCESS_NOT_SHAREABLE;
    MPU_InitStruct.TypeExtField     = MPU_TEX_LEVEL1;

    MPU_InitStruct.SubRegionDisable = 0x00;
    MPU_InitStruct.DisableExec      = MPU_INSTRUCTION_ACCESS_DISABLE;

    HAL_MPU_ConfigRegion(&MPU_InitStruct);
    HAL_MPU_Enable(MPU_PRIVILEGED_DEFAULT);
}

void Error_Handler(void)
{
  __disable_irq();
  while (1)
  {
  }
}

#ifdef  USE_FULL_ASSERT
/**
  * @brief  Reports the name of the source file and the source line number
  *         where the assert_param error has occurred.
  * @param  file: pointer to the source file name
  * @param  line: assert_param error line source number
  * @retval None
  */
void assert_failed(uint8_t *file, uint32_t line)
{
  /* USER CODE BEGIN 6 */
  /* User can add his own implementation to report the file name and line number,
     ex: //printf("Wrong parameters value: file %s on line %d\r\n", file, line) */
  /* USER CODE END 6 */
}
#endif /* USE_FULL_ASSERT */
